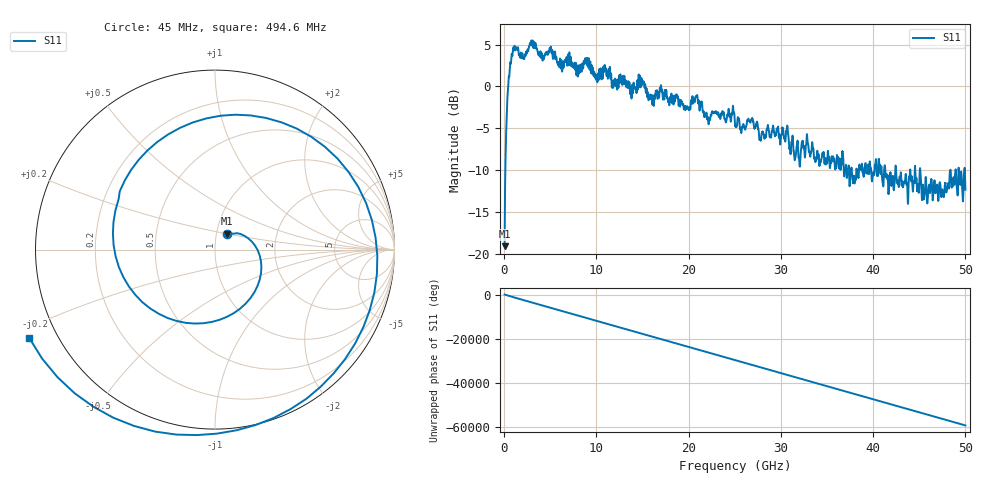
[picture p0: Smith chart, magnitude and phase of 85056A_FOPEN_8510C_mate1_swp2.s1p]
!Created with skrf (http://scikit-rf.org).
# Hz S RI R 50.0
!freq ReS11 ImS11
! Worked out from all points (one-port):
!   10001 points, 45 MHz to 50 GHz, reference 50 ohm
!   lowest |S11| = -19.1 dB at 45 MHz (marker M1), VSWR 1.25, Z = 56 + j10.2 ohm
!   |S11| at or under -10 dB: 41.31 GHz to 42.4 GHz (1.091 GHz wide, 2.61 % of centre); 42.48 GHz to 44 GHz (1.527 GHz wide, 3.53 % of centre); 45.11 GHz to 48.37 GHz (3.261 GHz wide, 6.98 % of centre) (the widest 3 of 28)
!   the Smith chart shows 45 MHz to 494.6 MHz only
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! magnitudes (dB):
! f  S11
! 45 MHz  -19.1
! 319.8 MHz  -2.1
! 439.6 MHz  0.1
! 1.019 GHz  4.4
! 2.098 GHz  3.5
! 3.027 GHz  5.0
! 6.289 GHz  1.8
! 8.967 GHz  2.5
! 10.03 GHz  1.3
! 12.53 GHz  0.5
! 13.75 GHz  -0.4
! 14.94 GHz  0.3
! 16.01 GHz  -1.2
! 18.78 GHz  -1.4
! 19.83 GHz  -2.4
! 20.88 GHz  -1.1
! 22.1 GHz  -3.7
! 25.02 GHz  -4.5
! 26.8 GHz  -4.0
! 27.86 GHz  -6.1
! 30.59 GHz  -5.3
! 31.27 GHz  -5.9
! 32.9 GHz  -6.7
! 37.51 GHz  -10.8
! 40.47 GHz  -10.7
! 43.76 GHz  -13.9
! 45.69 GHz  -10.9
! 50 GHz  -12.4
